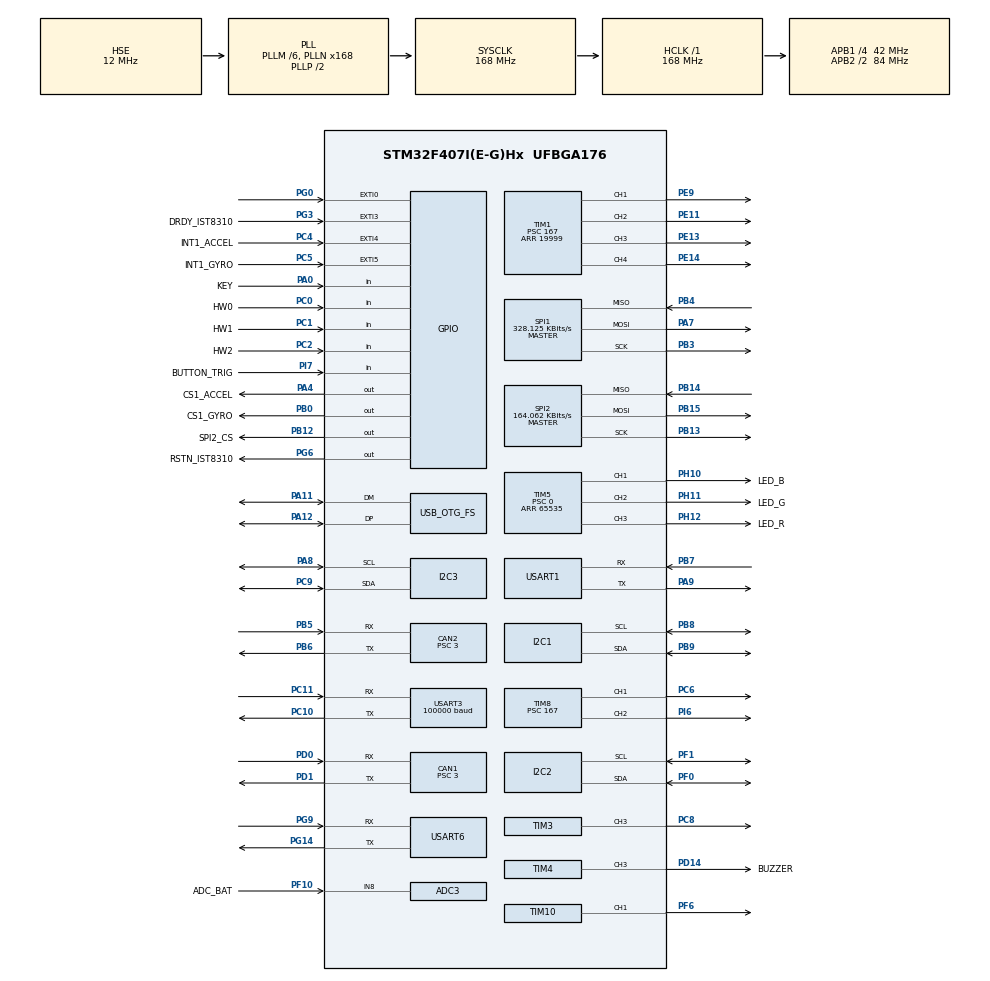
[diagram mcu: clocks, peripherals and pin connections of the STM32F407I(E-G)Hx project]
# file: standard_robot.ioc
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ADC1.Channel-0\#ChannelRegularConversion=ADC_CHANNEL_TEMPSENSOR
ADC1.ClockPrescaler=ADC_CLOCK_SYNC_PCLK_DIV6
ADC1.NbrOfConversionFlag=1
ADC1.Rank-0\#ChannelRegularConversion=1
ADC1.SamplingTime-0\#ChannelRegularConversion=ADC_SAMPLETIME_3CYCLES
ADC1.master=1
ADC3.Channel-0\#ChannelRegularConversion=ADC_CHANNEL_8
ADC3.ClockPrescaler=ADC_CLOCK_SYNC_PCLK_DIV6
ADC3.NbrOfConversionFlag=1
ADC3.Rank-0\#ChannelRegularConversion=1
ADC3.SamplingTime-0\#ChannelRegularConversion=ADC_SAMPLETIME_3CYCLES
CAN1.BS1=CAN_BS1_10TQ
CAN1.BS2=CAN_BS2_3TQ
CAN1.CalculateBaudRate=1000000
CAN1.CalculateTimeBit=999.99
CAN1.CalculateTimeQuantum=71.42857142857143
CAN1.Prescaler=3
CAN2.BS1=CAN_BS1_10TQ
CAN2.BS2=CAN_BS2_3TQ
CAN2.CalculateBaudRate=1000000
CAN2.CalculateTimeBit=999.99
CAN2.CalculateTimeQuantum=71.42857142857143
CAN2.Prescaler=3
Dma.I2C2_TX.2.Direction=DMA_MEMORY_TO_PERIPH
Dma.I2C2_TX.2.FIFOMode=DMA_FIFOMODE_DISABLE
Dma.I2C2_TX.2.Instance=DMA1_Stream7
Dma.I2C2_TX.2.MemDataAlignment=DMA_MDATAALIGN_BYTE
Dma.I2C2_TX.2.MemInc=DMA_MINC_ENABLE
Dma.I2C2_TX.2.Mode=DMA_NORMAL
Dma.I2C2_TX.2.PeriphDataAlignment=DMA_PDATAALIGN_BYTE
Dma.I2C2_TX.2.PeriphInc=DMA_PINC_DISABLE
Dma.I2C2_TX.2.Priority=DMA_PRIORITY_HIGH
Dma.Request0=SPI1_RX
Dma.Request1=SPI1_TX
Dma.Request2=I2C2_TX
Dma.Request3=USART3_RX
Dma.Request4=USART6_RX
Dma.Request5=USART6_TX
Dma.Request6=USART1_TX
Dma.SPI1_RX.0.Direction=DMA_PERIPH_TO_MEMORY
Dma.SPI1_RX.0.FIFOMode=DMA_FIFOMODE_DISABLE
Dma.SPI1_RX.0.Instance=DMA2_Stream2
Dma.SPI1_RX.0.MemDataAlignment=DMA_MDATAALIGN_BYTE
Dma.SPI1_RX.0.MemInc=DMA_MINC_ENABLE
Dma.SPI1_RX.0.Mode=DMA_NORMAL
Dma.SPI1_RX.0.PeriphDataAlignment=DMA_PDATAALIGN_BYTE
Dma.SPI1_RX.0.PeriphInc=DMA_PINC_DISABLE
Dma.SPI1_RX.0.Priority=DMA_PRIORITY_VERY_HIGH
Dma.SPI1_TX.1.Direction=DMA_MEMORY_TO_PERIPH
Dma.SPI1_TX.1.FIFOMode=DMA_FIFOMODE_DISABLE
Dma.SPI1_TX.1.Instance=DMA2_Stream3
Dma.SPI1_TX.1.MemDataAlignment=DMA_MDATAALIGN_BYTE
Dma.SPI1_TX.1.MemInc=DMA_MINC_ENABLE
Dma.SPI1_TX.1.Mode=DMA_NORMAL
Dma.SPI1_TX.1.PeriphDataAlignment=DMA_PDATAALIGN_BYTE
Dma.SPI1_TX.1.PeriphInc=DMA_PINC_DISABLE
Dma.SPI1_TX.1.Priority=DMA_PRIORITY_HIGH
Dma.USART1_TX.6.Direction=DMA_MEMORY_TO_PERIPH
Dma.USART1_TX.6.FIFOMode=DMA_FIFOMODE_DISABLE
Dma.USART1_TX.6.Instance=DMA2_Stream7
Dma.USART1_TX.6.MemDataAlignment=DMA_MDATAALIGN_BYTE
Dma.USART1_TX.6.MemInc=DMA_MINC_ENABLE
Dma.USART1_TX.6.Mode=DMA_NORMAL
Dma.USART1_TX.6.PeriphDataAlignment=DMA_PDATAALIGN_BYTE
Dma.USART1_TX.6.PeriphInc=DMA_PINC_DISABLE
Dma.USART1_TX.6.Priority=DMA_PRIORITY_MEDIUM
Dma.USART3_RX.3.Direction=DMA_PERIPH_TO_MEMORY
Dma.USART3_RX.3.FIFOMode=DMA_FIFOMODE_DISABLE
Dma.USART3_RX.3.Instance=DMA1_Stream1
Dma.USART3_RX.3.MemDataAlignment=DMA_MDATAALIGN_BYTE
Dma.USART3_RX.3.MemInc=DMA_MINC_ENABLE
Dma.USART3_RX.3.Mode=DMA_NORMAL
Dma.USART3_RX.3.PeriphDataAlignment=DMA_PDATAALIGN_BYTE
Dma.USART3_RX.3.PeriphInc=DMA_PINC_DISABLE
Dma.USART3_RX.3.Priority=DMA_PRIORITY_HIGH
Dma.USART6_RX.4.Direction=DMA_PERIPH_TO_MEMORY
Dma.USART6_RX.4.FIFOMode=DMA_FIFOMODE_DISABLE
Dma.USART6_RX.4.Instance=DMA2_Stream1
Dma.USART6_RX.4.MemDataAlignment=DMA_MDATAALIGN_BYTE
Dma.USART6_RX.4.MemInc=DMA_MINC_ENABLE
Dma.USART6_RX.4.Mode=DMA_NORMAL
Dma.USART6_RX.4.PeriphDataAlignment=DMA_PDATAALIGN_BYTE
Dma.USART6_RX.4.PeriphInc=DMA_PINC_DISABLE
Dma.USART6_RX.4.Priority=DMA_PRIORITY_HIGH
Dma.USART6_TX.5.Direction=DMA_MEMORY_TO_PERIPH
Dma.USART6_TX.5.FIFOMode=DMA_FIFOMODE_DISABLE
Dma.USART6_TX.5.Instance=DMA2_Stream6
Dma.USART6_TX.5.MemDataAlignment=DMA_MDATAALIGN_BYTE
Dma.USART6_TX.5.MemInc=DMA_MINC_ENABLE
Dma.USART6_TX.5.Mode=DMA_NORMAL
Dma.USART6_TX.5.PeriphDataAlignment=DMA_PDATAALIGN_BYTE
Dma.USART6_TX.5.PeriphInc=DMA_PINC_DISABLE
Dma.USART6_TX.5.Priority=DMA_PRIORITY_MEDIUM
FREERTOS.INCLUDE_eTaskGetState=1
FREERTOS.INCLUDE_pcTaskGetTaskName=1
FREERTOS.INCLUDE_uxTaskGetStackHighWaterMark=1
FREERTOS.INCLUDE_vTaskCleanUpResources=1
FREERTOS.INCLUDE_vTaskDelayUntil=1
FREERTOS.INCLUDE_xEventGroupSetBitFromISR=1
FREERTOS.INCLUDE_xQueueGetMutexHolder=1
FREERTOS.INCLUDE_xSemaphoreGetMutexHolder=1
FREERTOS.INCLUDE_xTaskAbortDelay=1
FREERTOS.INCLUDE_xTaskGetCurrentTaskHandle=1
FREERTOS.INCLUDE_xTaskGetHandle=1
FREERTOS.INCLUDE_xTimerPendFunctionCall=1
FREERTOS.Tasks01=test,24,128,test_task,As weak,NULL,Dynamic,NULL,NULL
FREERTOS.configTOTAL_HEAP_SIZE=24576
I2C1.I2C_Mode=I2C_Fast
I2C2.I2C_Mode=I2C_Fast
I2C3.I2C_Mode=I2C_Fast
Mcu.Family=STM32F4
Mcu.Name=STM32F407I(E-G)Hx
Mcu.Package=UFBGA176
NVIC.CAN1_RX0_IRQn=true\:6\:0\:true\:false\:true\:false\:true\:true
NVIC.CAN2_RX0_IRQn=true\:6\:0\:true\:false\:true\:false\:true\:true
NVIC.DMA1_Stream1_IRQn=true\:5\:0\:true\:false\:false\:false\:false\:false
NVIC.DMA1_Stream7_IRQn=true\:5\:0\:true\:false\:false\:false\:false\:true
NVIC.DMA2_Stream1_IRQn=true\:5\:0\:true\:false\:true\:false\:false\:true
NVIC.DMA2_Stream2_IRQn=true\:5\:0\:true\:false\:false\:false\:false\:true
NVIC.DMA2_Stream3_IRQn=true\:5\:0\:true\:false\:false\:false\:false\:true
NVIC.DMA2_Stream6_IRQn=true\:5\:0\:true\:false\:true\:false\:false\:true
NVIC.DMA2_Stream7_IRQn=true\:5\:0\:true\:false\:true\:false\:false\:true
NVIC.EXTI0_IRQn=true\:6\:0\:true\:false\:true\:false\:true\:true
NVIC.EXTI3_IRQn=true\:5\:0\:true\:false\:true\:false\:true\:true
NVIC.EXTI4_IRQn=true\:5\:0\:true\:false\:true\:false\:true\:true
NVIC.EXTI9_5_IRQn=true\:5\:0\:true\:false\:true\:false\:true\:true
NVIC.OTG_FS_IRQn=true\:5\:0\:false\:false\:true\:true\:false\:true
NVIC.PriorityGroup=NVIC_PRIORITYGROUP_4
NVIC.TIM6_DAC_IRQn=true\:0\:0\:false\:false\:true\:false\:false\:true
NVIC.TimeBase=TIM6_DAC_IRQn
NVIC.TimeBaseIP=TIM6
NVIC.USART3_IRQn=true\:4\:0\:true\:false\:false\:false\:true\:true
NVIC.USART6_IRQn=true\:5\:0\:true\:false\:false\:false\:true\:true
PA0-WKUP.GPIO_Label=KEY
PA0-WKUP.GPIO_PuPd=GPIO_PULLUP
PA0-WKUP.Signal=GPIO_Input
PA11.Mode=Device_Only
PA11.Signal=USB_OTG_FS_DM
PA12.Mode=Device_Only
PA12.Signal=USB_OTG_FS_DP
PA13.Mode=Serial_Wire
PA13.Signal=SYS_JTMS-SWDIO
PA14.Mode=Serial_Wire
PA14.Signal=SYS_JTCK-SWCLK
PA4.GPIO_Label=CS1_ACCEL
PA4.GPIO_PuPd=GPIO_PULLUP
PA4.GPIO_Speed=GPIO_SPEED_FREQ_HIGH
PA4.PinState=GPIO_PIN_SET
PA4.Signal=GPIO_Output
PA7.GPIO_PuPd=GPIO_PULLUP
PA7.Mode=Full_Duplex_Master
PA7.Signal=SPI1_MOSI
PA8.Mode=I2C
PA8.Signal=I2C3_SCL
PA9.Mode=Asynchronous
PA9.Signal=USART1_TX
PB0.GPIO_Label=CS1_GYRO
PB0.GPIO_PuPd=GPIO_PULLUP
PB0.GPIO_Speed=GPIO_SPEED_FREQ_HIGH
PB0.PinState=GPIO_PIN_SET
PB0.Signal=GPIO_Output
PB12.GPIO_Label=SPI2_CS
PB12.GPIO_PuPd=GPIO_PULLUP
PB12.GPIO_Speed=GPIO_SPEED_FREQ_MEDIUM
PB12.PinState=GPIO_PIN_SET
PB12.Signal=GPIO_Output
PB13.GPIO_PuPd=GPIO_PULLUP
PB13.Mode=Full_Duplex_Master
PB13.Signal=SPI2_SCK
PB14.GPIO_PuPd=GPIO_PULLUP
PB14.Mode=Full_Duplex_Master
PB14.Signal=SPI2_MISO
PB15.GPIO_PuPd=GPIO_PULLUP
PB15.Mode=Full_Duplex_Master
PB15.Signal=SPI2_MOSI
PB3.GPIO_PuPd=GPIO_PULLUP
PB3.Mode=Full_Duplex_Master
PB3.Signal=SPI1_SCK
PB4.GPIO_PuPd=GPIO_PULLUP
PB4.Mode=Full_Duplex_Master
PB4.Signal=SPI1_MISO
PB5.Mode=CAN_Activate
PB5.Signal=CAN2_RX
PB6.Mode=CAN_Activate
PB6.Signal=CAN2_TX
PB7.Mode=Asynchronous
PB7.Signal=USART1_RX
PB8.Mode=I2C
PB8.Signal=I2C1_SCL
PB9.Mode=I2C
PB9.Signal=I2C1_SDA
PC0.GPIO_Label=HW0
PC0.Signal=GPIO_Input
PC1.GPIO_Label=HW1
PC1.Signal=GPIO_Input
PC10.Mode=Asynchronous
PC10.Signal=USART3_TX
PC11.Mode=Asynchronous
PC11.Signal=USART3_RX
PC2.GPIO_Label=HW2
PC2.Signal=GPIO_Input
PC4.GPIO_Label=INT1_ACCEL
PC4.GPIO_ModeDefaultEXTI=GPIO_MODE_IT_FALLING
PC4.GPIO_PuPd=GPIO_PULLUP
PC4.Signal=GPXTI4
PC5.GPIO_Label=INT1_GYRO
PC5.GPIO_ModeDefaultEXTI=GPIO_MODE_IT_FALLING
PC5.GPIO_PuPd=GPIO_PULLUP
PC5.Signal=GPXTI5
PC6.GPIO_PuPd=GPIO_PULLUP
PC6.GPIO_Speed=GPIO_SPEED_FREQ_HIGH
PC6.Signal=S_TIM8_CH1
PC8.GPIO_PuPd=GPIO_PULLUP
PC8.GPIO_Speed=GPIO_SPEED_FREQ_HIGH
PC8.Signal=S_TIM3_CH3
PC9.Mode=I2C
PC9.Signal=I2C3_SDA
PD0.Mode=CAN_Activate
PD0.Signal=CAN1_RX
PD1.Mode=CAN_Activate
PD1.Signal=CAN1_TX
PD14.GPIO_Label=BUZZER
PD14.GPIO_PuPd=GPIO_PULLUP
PD14.GPIO_Speed=GPIO_SPEED_FREQ_VERY_HIGH
PD14.Signal=S_TIM4_CH3
PE11.GPIO_PuPd=GPIO_PULLUP
PE11.GPIO_Speed=GPIO_SPEED_FREQ_HIGH
PE11.Signal=S_TIM1_CH2
PE13.GPIO_PuPd=GPIO_PULLUP
PE13.GPIO_Speed=GPIO_SPEED_FREQ_HIGH
PE13.Signal=S_TIM1_CH3
PE14.GPIO_PuPd=GPIO_PULLUP
PE14.GPIO_Speed=GPIO_SPEED_FREQ_HIGH
PE14.Signal=S_TIM1_CH4
PE9.GPIO_PuPd=GPIO_PULLUP
PE9.GPIO_Speed=GPIO_SPEED_FREQ_HIGH
PE9.Signal=S_TIM1_CH1
PF0.Mode=I2C
PF0.Signal=I2C2_SDA
PF1.Mode=I2C
PF1.Signal=I2C2_SCL
PF10.GPIO_Label=ADC_BAT
PF10.Mode=IN8
PF10.Signal=ADC3_IN8
PF6.GPIO_PuPd=GPIO_PULLUP
PF6.GPIO_Speed=GPIO_SPEED_FREQ_HIGH
PF6.Signal=S_TIM10_CH1
PG0.GPIO_ModeDefaultEXTI=GPIO_MODE_IT_FALLING
PG0.GPIO_PuPd=GPIO_PULLUP
PG0.Signal=GPXTI0
PG14.Mode=Asynchronous
PG14.Signal=USART6_TX
PG3.GPIO_Label=DRDY_IST8310
PG3.GPIO_ModeDefaultEXTI=GPIO_MODE_IT_FALLING
PG3.GPIO_PuPd=GPIO_PULLUP
PG3.Signal=GPXTI3
PG6.GPIO_Label=RSTN_IST8310
PG6.GPIO_PuPd=GPIO_PULLUP
PG6.GPIO_Speed=GPIO_SPEED_FREQ_MEDIUM
PG6.PinState=GPIO_PIN_SET
PG6.Signal=GPIO_Output
PG9.Mode=Asynchronous
PG9.Signal=USART6_RX
PH0-OSC_IN.Mode=HSE-External-Oscillator
PH0-OSC_IN.Signal=RCC_OSC_IN
PH1-OSC_OUT.Mode=HSE-External-Oscillator
PH1-OSC_OUT.Signal=RCC_OSC_OUT
PH10.GPIO_Label=LED_B
PH10.GPIO_PuPd=GPIO_PULLUP
PH10.GPIO_Speed=GPIO_SPEED_FREQ_HIGH
PH10.Signal=S_TIM5_CH1
PH11.GPIO_Label=LED_G
PH11.GPIO_PuPd=GPIO_PULLUP
PH11.GPIO_Speed=GPIO_SPEED_FREQ_HIGH
PH11.Signal=S_TIM5_CH2
PH12.GPIO_Label=LED_R
PH12.GPIO_PuPd=GPIO_PULLUP
PH12.GPIO_Speed=GPIO_SPEED_FREQ_HIGH
PH12.Signal=S_TIM5_CH3
PI6.GPIO_PuPd=GPIO_PULLUP
PI6.GPIO_Speed=GPIO_SPEED_FREQ_HIGH
PI6.Signal=S_TIM8_CH2
PI7.GPIO_Label=BUTTON_TRIG
PI7.GPIO_PuPd=GPIO_PULLUP
PI7.Signal=GPIO_Input
ProjectManager.HeapSize=0x2000
ProjectManager.StackSize=0x2000
ProjectManager.TargetToolchain=MDK-ARM V5
RCC.48MHZClocksFreq_Value=48000000
RCC.AHBFreq_Value=168000000
RCC.APB1CLKDivider=RCC_HCLK_DIV4
RCC.APB1Freq_Value=42000000
RCC.APB1TimFreq_Value=84000000
RCC.APB2CLKDivider=RCC_HCLK_DIV2
RCC.APB2Freq_Value=84000000
RCC.APB2TimFreq_Value=168000000
RCC.CortexFreq_Value=168000000
RCC.HCLKFreq_Value=168000000
RCC.HSE_VALUE=12000000
RCC.HSI_VALUE=16000000
RCC.LSE_VALUE=32768
RCC.PLLM=6
RCC.PLLN=168
RCC.PLLQ=7
RCC.RCC_RTC_Clock_SourceVirtual=RCC_RTCCLKSOURCE_HSE_DIV30
RCC.RCC_RTC_Clock_Source_FROM_HSE=RCC_RTCCLKSOURCE_HSE_DIV30
RCC.SYSCLKFreq_VALUE=168000000
RCC.SYSCLKSource=RCC_SYSCLKSOURCE_PLLCLK
RCC.VCOOutputFreq_Value=336000000
RTC.AsynchPrediv=124
RTC.SynchPrediv=3199
SH.S_TIM10_CH1.0=TIM10_CH1,PWM Generation1 CH1
SH.S_TIM1_CH1.0=TIM1_CH1,PWM Generation1 CH1
SH.S_TIM1_CH2.0=TIM1_CH2,PWM Generation2 CH2
SH.S_TIM1_CH3.0=TIM1_CH3,PWM Generation3 CH3
SH.S_TIM1_CH4.0=TIM1_CH4,PWM Generation4 CH4
SH.S_TIM3_CH3.0=TIM3_CH3,PWM Generation3 CH3
SH.S_TIM4_CH3.0=TIM4_CH3,PWM Generation3 CH3
SH.S_TIM5_CH1.0=TIM5_CH1,PWM Generation1 CH1
SH.S_TIM5_CH2.0=TIM5_CH2,PWM Generation2 CH2
SH.S_TIM5_CH3.0=TIM5_CH3,PWM Generation3 CH3
SH.S_TIM8_CH1.0=TIM8_CH1,PWM Generation1 CH1
SH.S_TIM8_CH2.0=TIM8_CH2,PWM Generation2 CH2
SPI1.BaudRatePrescaler=SPI_BAUDRATEPRESCALER_256
SPI1.CLKPhase=SPI_PHASE_2EDGE
SPI1.CLKPolarity=SPI_POLARITY_HIGH
SPI1.CalculateBaudRate=328.125 KBits/s
SPI1.Direction=SPI_DIRECTION_2LINES
SPI1.Mode=SPI_MODE_MASTER
SPI1.VirtualType=VM_MASTER
SPI2.BaudRatePrescaler=SPI_BAUDRATEPRESCALER_256
SPI2.CLKPhase=SPI_PHASE_2EDGE
SPI2.CLKPolarity=SPI_POLARITY_HIGH
SPI2.CalculateBaudRate=164.062 KBits/s
SPI2.Direction=SPI_DIRECTION_2LINES
SPI2.Mode=SPI_MODE_MASTER
SPI2.VirtualType=VM_MASTER
TIM1.Channel-PWM\ Generation1\ CH1=TIM_CHANNEL_1
TIM1.Channel-PWM\ Generation2\ CH2=TIM_CHANNEL_2
TIM1.Channel-PWM\ Generation3\ CH3=TIM_CHANNEL_3
TIM1.Channel-PWM\ Generation4\ CH4=TIM_CHANNEL_4
TIM1.Period=19999
TIM1.Prescaler=167
TIM1.Pulse-PWM\ Generation1\ CH1=1000
TIM1.Pulse-PWM\ Generation2\ CH2=1000
TIM1.Pulse-PWM\ Generation3\ CH3=1000
TIM1.Pulse-PWM\ Generation4\ CH4=1000
TIM10.Channel=TIM_CHANNEL_1
TIM10.Period=4999
TIM3.Channel-PWM\ Generation3\ CH3=TIM_CHANNEL_3
TIM3.Period=8399
TIM4.Channel-PWM\ Generation3\ CH3=TIM_CHANNEL_3
TIM4.Period=65535
TIM4.Prescaler=167
TIM5.Channel-PWM\ Generation1\ CH1=TIM_CHANNEL_1
TIM5.Channel-PWM\ Generation2\ CH2=TIM_CHANNEL_2
TIM5.Channel-PWM\ Generation3\ CH3=TIM_CHANNEL_3
TIM5.Period=65535
TIM5.Prescaler=0
TIM8.Channel-PWM\ Generation1\ CH1=TIM_CHANNEL_1
TIM8.Channel-PWM\ Generation2\ CH2=TIM_CHANNEL_2
TIM8.Period=19999
TIM8.Prescaler=167
TIM8.Pulse-PWM\ Generation1\ CH1=1000
TIM8.Pulse-PWM\ Generation2\ CH2=1000
USART1.VirtualMode=VM_ASYNC
USART3.BaudRate=100000
USART3.Parity=PARITY_EVEN
USART3.VirtualMode=VM_ASYNC
USART6.VirtualMode=VM_ASYNC
USB_DEVICE.CLASS_NAME_FS=CDC
USB_DEVICE.VirtualMode-CDC_FS=Cdc
USB_DEVICE.VirtualModeFS=Cdc_FS
USB_OTG_FS.VirtualMode=Device_Only
VP_ADC1_TempSens_Input.Mode=IN-TempSens
VP_ADC1_Vref_Input.Mode=IN-Vrefint
VP_CRC_VS_CRC.Mode=CRC_Activate
VP_FREERTOS_VS_CMSIS_V1.Mode=CMSIS_V1
VP_RNG_VS_RNG.Mode=RNG_Activate
VP_RTC_VS_RTC_Activate.Mode=RTC_Enabled
VP_SYS_VS_tim6.Mode=TIM6
VP_TIM10_VS_ClockSourceINT.Mode=Enable_Timer
VP_TIM1_VS_ClockSourceINT.Mode=Internal
VP_TIM3_VS_ClockSourceINT.Mode=Internal
VP_TIM4_VS_ClockSourceINT.Mode=Internal
VP_TIM5_VS_ClockSourceINT.Mode=Internal
VP_TIM8_VS_ClockSourceINT.Mode=Internal
VP_USB_DEVICE_VS_USB_DEVICE_CDC_FS.Mode=CDC_FS
board=custom

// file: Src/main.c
/* USER CODE BEGIN Header */
/**
  ******************************************************************************
  * @file           : main.c
  * @brief          : Main program body
  ******************************************************************************
  * @attention
  *
  * <h2><center>&copy; Copyright (c) 2020 STMicroelectronics.
  * All rights reserved.</center></h2>
  *
  * This software component is licensed by ST under Ultimate Liberty license
  * SLA0044, the "License"; You may not use this file except in compliance with
  * the License. You may obtain a copy of the License at:
  *                             www.st.com/SLA0044
  *
  ******************************************************************************
  */
/* USER CODE END Header */
#include "main.h"
#include "cmsis_os.h"
#include "adc.h"
#include "can.h"
#include "crc.h"
#include "dma.h"
#include "i2c.h"
#include "rng.h"
#include "rtc.h"
#include "spi.h"
#include "tim.h"
#include "usart.h"
#include "usb_device.h"
#include "gpio.h"

/* USER CODE BEGIN Includes */
#include "bsp_can.h"
#include "bsp_delay.h"
#include "bsp_usart.h"
#include "remote_control.h"
#include "INS_task.h"
#include "shoot_task.h"
#include "detect_task.h"
#include "voltage_task.h"

/* USER CODE END Includes */

void SystemClock_Config(void);
void MX_FREERTOS_Init(void);

int main(void)
{

  /* MCU Configuration--------------------------------------------------------*/

  /* Reset of all peripherals, Initializes the Flash interface and the Systick. */
	HAL_Init();

  /* Configure the system clock */
  SystemClock_Config();

  /* Initialize all configured peripherals */
  MX_GPIO_Init();
  MX_DMA_Init();
  MX_ADC1_Init();
  MX_ADC3_Init();
  MX_CAN1_Init();
  MX_CAN2_Init();
  MX_I2C1_Init();
  MX_SPI1_Init();
  MX_TIM4_Init();
  MX_TIM5_Init();
  MX_USART3_UART_Init();
  MX_TIM8_Init();
  MX_CRC_Init();
  MX_RNG_Init();
  MX_I2C2_Init();
  MX_I2C3_Init();
  MX_RTC_Init();
  MX_SPI2_Init();
  MX_TIM1_Init();
  MX_TIM3_Init();
  MX_TIM10_Init();
  MX_USART1_UART_Init();
  MX_USART6_UART_Init();
  /* USER CODE BEGIN 2 */
    can_filter_init();
    delay_init();
//    cali_param_init();
    remote_control_init();
    usart1_tx_dma_init();
  /* USER CODE END 2 */

  /* Call init function for freertos objects (in freertos.c) */
  MX_FREERTOS_Init();
  /* Start scheduler */
  osKernelStart();

  /* We should never get here as control is now taken by the scheduler */
  /* Infinite loop */
  while (1)
  {

  }
}

void SystemClock_Config(void)
{
  RCC_OscInitTypeDef RCC_OscInitStruct = {0};
  RCC_ClkInitTypeDef RCC_ClkInitStruct = {0};
  RCC_PeriphCLKInitTypeDef PeriphClkInitStruct = {0};

  /** Configure the main internal regulator output voltage
  */
  __HAL_RCC_PWR_CLK_ENABLE();
  __HAL_PWR_VOLTAGESCALING_CONFIG(PWR_REGULATOR_VOLTAGE_SCALE1);
  /** Initializes the RCC Oscillators according to the specified parameters
  * in the RCC_OscInitTypeDef structure.
  */
  RCC_OscInitStruct.OscillatorType = RCC_OSCILLATORTYPE_HSE;
  RCC_OscInitStruct.HSEState = RCC_HSE_ON;
  RCC_OscInitStruct.PLL.PLLState = RCC_PLL_ON;
  RCC_OscInitStruct.PLL.PLLSource = RCC_PLLSOURCE_HSE;
  RCC_OscInitStruct.PLL.PLLM = 6;
  RCC_OscInitStruct.PLL.PLLN = 168;
  RCC_OscInitStruct.PLL.PLLP = RCC_PLLP_DIV2;
  RCC_OscInitStruct.PLL.PLLQ = 7;
  if (HAL_RCC_OscConfig(&RCC_OscInitStruct) != HAL_OK)
  {
    Error_Handler();
  }
  /** Initializes the CPU, AHB and APB buses clocks
  */
  RCC_ClkInitStruct.ClockType = RCC_CLOCKTYPE_HCLK|RCC_CLOCKTYPE_SYSCLK
                              |RCC_CLOCKTYPE_PCLK1|RCC_CLOCKTYPE_PCLK2;
  RCC_ClkInitStruct.SYSCLKSource = RCC_SYSCLKSOURCE_PLLCLK;
  RCC_ClkInitStruct.AHBCLKDivider = RCC_SYSCLK_DIV1;
  RCC_ClkInitStruct.APB1CLKDivider = RCC_HCLK_DIV4;
  RCC_ClkInitStruct.APB2CLKDivider = RCC_HCLK_DIV2;

  if (HAL_RCC_ClockConfig(&RCC_ClkInitStruct, FLASH_LATENCY_5) != HAL_OK)
  {
    Error_Handler();
  }
  PeriphClkInitStruct.PeriphClockSelection = RCC_PERIPHCLK_RTC;
  PeriphClkInitStruct.RTCClockSelection = RCC_RTCCLKSOURCE_HSE_DIV30;
  if (HAL_RCCEx_PeriphCLKConfig(&PeriphClkInitStruct) != HAL_OK)
  {
    Error_Handler();
  }
}

 /**
  * @brief  Period elapsed callback in non blocking mode
  * @note   This function is called  when TIM6 interrupt took place, inside
  * HAL_TIM_IRQHandler(). It makes a direct call to HAL_IncTick() to increment
  * a global variable "uwTick" used as application time base.
  * @param  htim : TIM handle
  * @retval None
  */
void HAL_TIM_PeriodElapsedCallback(TIM_HandleTypeDef *htim)
{
  if (htim->Instance == TIM6) {
    HAL_IncTick();
  }
}

void Error_Handler(void)
{
}

/************************ (C) COPYRIGHT STMicroelectronics *****END OF FILE****/

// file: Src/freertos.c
/* USER CODE BEGIN Header */
/**
  ******************************************************************************
  * File Name          : freertos.c
  * Description        : Code for freertos applications
  ******************************************************************************
  * @attention
  *
  * <h2><center>&copy; Copyright (c) 2020 STMicroelectronics.
  * All rights reserved.</center></h2>
  *
  * This software component is licensed by ST under Ultimate Liberty license
  * SLA0044, the "License"; You may not use this file except in compliance with
  * the License. You may obtain a copy of the License at:
  *                             www.st.com/SLA0044
  *
  ******************************************************************************
  */
/* USER CODE END Header */

#include "FreeRTOS.h"
#include "task.h"
#include "main.h"
#include "cmsis_os.h"

/* USER CODE BEGIN Includes */
#include "servo_task.h"
#include "shoot_task.h"
#include "INS_task.h"
#include "voltage_task.h"
#include "INS_task.h"
#include "usb_task.h"
#include "chassis_task.h"
#include "detect_task.h"
#include "chassis_task.h"
#include "gimbal_task.h"
#include "referee_usart_task.h"
/* USER CODE END Includes */

/* USER CODE BEGIN PTD */
osThreadId imuTaskHandle;                  //陀螺仪任务
osThreadId shoot_handle;                   //shoot任务
osThreadId battery_voltage_handle;         //电压检测
osThreadId servo_task_handle;              //舵机
osThreadId imuTaskHandle;                  //陀螺仪
osThreadId chassisTaskHandle;              //底盘
osThreadId gimbalTaskHandle;               //云台
osThreadId detect_handle;                  //检测
osThreadId usb_task_handle;                //usb
osThreadId referee_usart_task_handle;      //裁判系统

/* USER CODE END PTD */

osThreadId testHandle;

void test_task(void const * argument);

extern void MX_USB_DEVICE_Init(void);
void MX_FREERTOS_Init(void); /* (MISRA C 2004 rule 8.1) */

/* GetIdleTaskMemory prototype (linked to static allocation support) */
void vApplicationGetIdleTaskMemory( StaticTask_t **ppxIdleTaskTCBBuffer, StackType_t **ppxIdleTaskStackBuffer, uint32_t *pulIdleTaskStackSize );

/* GetTimerTaskMemory prototype (linked to static allocation support) */
void vApplicationGetTimerTaskMemory( StaticTask_t **ppxTimerTaskTCBBuffer, StackType_t **ppxTimerTaskStackBuffer, uint32_t *pulTimerTaskStackSize );

/* USER CODE BEGIN GET_IDLE_TASK_MEMORY */
static StaticTask_t xIdleTaskTCBBuffer;
static StackType_t xIdleStack[configMINIMAL_STACK_SIZE];

void vApplicationGetIdleTaskMemory( StaticTask_t **ppxIdleTaskTCBBuffer, StackType_t **ppxIdleTaskStackBuffer, uint32_t *pulIdleTaskStackSize )
{
  *ppxIdleTaskTCBBuffer = &xIdleTaskTCBBuffer;
  *ppxIdleTaskStackBuffer = &xIdleStack[0];
  *pulIdleTaskStackSize = configMINIMAL_STACK_SIZE;
  /* place for user code */
}
/* USER CODE END GET_IDLE_TASK_MEMORY */

/* USER CODE BEGIN GET_TIMER_TASK_MEMORY */
static StaticTask_t xTimerTaskTCBBuffer;
static StackType_t xTimerStack[configTIMER_TASK_STACK_DEPTH];

void vApplicationGetTimerTaskMemory( StaticTask_t **ppxTimerTaskTCBBuffer, StackType_t **ppxTimerTaskStackBuffer, uint32_t *pulTimerTaskStackSize )
{
  *ppxTimerTaskTCBBuffer = &xTimerTaskTCBBuffer;
  *ppxTimerTaskStackBuffer = &xTimerStack[0];
  *pulTimerTaskStackSize = configTIMER_TASK_STACK_DEPTH;
  /* place for user code */
}
/* USER CODE END GET_TIMER_TASK_MEMORY */

void MX_FREERTOS_Init(void) {

  /* Create the thread(s) */
  /* definition and creation of test */
//  osThreadDef(test, test_task, osPriorityNormal, 0, 128);
//  testHandle = osThreadCreate(osThread(test), NULL);

  /* USER CODE BEGIN RTOS_THREADS */
  /* add threads, ... */
	  osThreadDef(BATTERY_VOLTAGE, battery_voltage_task, osPriorityNormal, 0, 128);
    battery_voltage_handle = osThreadCreate(osThread(BATTERY_VOLTAGE), NULL);

	  osThreadDef(imuTask, INS_task, osPriorityRealtime, 0, 1024);
    imuTaskHandle = osThreadCreate(osThread(imuTask), NULL);

	  osThreadDef(shootTask, shoot_task, osPriorityNormal, 0, 512);
    shoot_handle = osThreadCreate(osThread(shootTask), NULL);

//    osThreadDef(SERVO, servo_task, osPriorityNormal, 0, 128);
//    servo_task_handle = osThreadCreate(osThread(SERVO), NULL);

    osThreadDef(ChassisTask, chassis_task, osPriorityAboveNormal, 0, 512);
    chassisTaskHandle = osThreadCreate(osThread(ChassisTask), NULL);

    osThreadDef(gimbalTask, gimbal_task, osPriorityHigh, 0, 512);
    gimbalTaskHandle = osThreadCreate(osThread(gimbalTask), NULL);

//    osThreadDef(DETECT, detect_task, osPriorityNormal, 0, 256);
//    detect_handle = osThreadCreate(osThread(DETECT), NULL);

    osThreadDef(USBTask, usb_task, osPriorityNormal, 0, 128);
    usb_task_handle = osThreadCreate(osThread(USBTask), NULL);

    osThreadDef(REFEREE, referee_usart_task, osPriorityNormal, 0, 128);
    referee_usart_task_handle = osThreadCreate(osThread(REFEREE), NULL);

  /* USER CODE END RTOS_THREADS */

}

__weak void test_task(void const * argument)
{
  /* init code for USB_DEVICE */
  MX_USB_DEVICE_Init();
  for(;;)
  {
    osDelay(1);
  }
}

/************************ (C) COPYRIGHT STMicroelectronics *****END OF FILE****/
